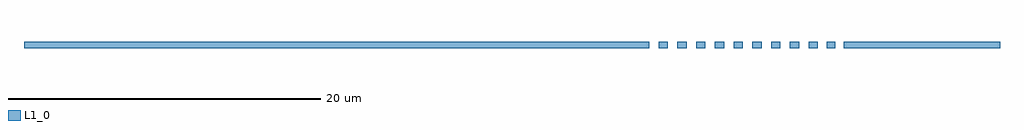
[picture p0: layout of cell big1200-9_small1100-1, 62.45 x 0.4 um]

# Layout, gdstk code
import gdstk
lib = gdstk.Library(unit=1e-6, precision=1e-09)
def R(c, l, rs):  # rectangles x0, y0, x1, y1
    for r in rs: c.add(gdstk.rectangle(r[:2], r[2:], *l))
def A(c, l, x, y, w, h, nx, ny, dx, dy):  # array of equal rectangles
    R(c, l, [(x+i*dx, y+j*dy, x+i*dx+w, y+j*dy+h) for i in range(nx) for j in range(ny)])
L1_0 = (1, 0)

big1200_9_small1100_1 = lib.new_cell('big1200-9_small1100-1')
A(big1200_9_small1100_1, L1_0, 0.6, 0, 0.6, 0.4, 9, 1, 1.2, 0)
R(big1200_9_small1100_1, L1_0, [(-40,0,0,0.4), (11.35,0,11.9,0.4), (12.45,0,22.45,0.4)])

lib.write_gds('big1200-9_small1100-1.gds')
